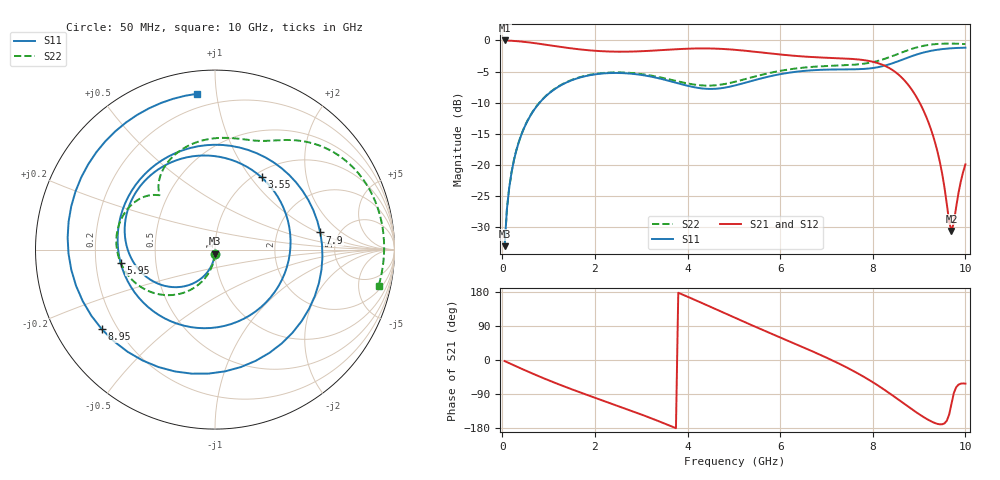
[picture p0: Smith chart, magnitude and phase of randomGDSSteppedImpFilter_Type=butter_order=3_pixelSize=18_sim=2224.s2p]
! freq	dB(S11)	phase(S11)	dB(S12)	phase(S12)
!  dB(S21)	phase(S21)	dB(S22)	phase(S22)
!S-par simulation data
#  GHz  S  DB  R 50
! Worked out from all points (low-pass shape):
!   200 points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, 50 MHz to 10 GHz, reference 50 ohm
!   highest |S21| = -0.01 dB at 50 MHz (marker M1); lowest = -30.6 dB at 9.7 GHz (marker M2)
!   |S21| within 3 dB of the highest: start of sweep to 7.617 GHz
!   lowest |S11| = -33.0 dB at 50 MHz (marker M3), VSWR 1.05, Z = 49.9 - j2.23 ohm
!   |S11| at or under -10 dB: start of sweep to 805.3 MHz
!   |S22| runs from -33.0 to -0.5 dB; largest |S21 - S12| = 0
!   S11 on the Smith chart (normalised r, x): 50 MHz: 1.00, -0.04; 3.55 GHz: 1.08, +1.13; 5.95 GHz: 0.31, -0.06; 7.9 GHz: 3.59, +1.06; 8.95 GHz: 0.14, -0.31; 10 GHz: 0.12, +0.89
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0.05  -33.01 -91.8  -0.01 -2.8  -0.01 -2.8  -32.99 -91.2
0.1  -27.08 -95.3  -0.02 -5.6  -0.02 -5.6  -27.04 -94.1
0.2  -21.16 -101.8  -0.06 -11.2  -0.06 -11.2  -21.13 -99.4
0.5  -13.58 -120.5  -0.26 -27.7  -0.26 -27.7  -13.54 -114.6
1.1  -7.98 -155.5  -0.87 -58.5  -0.87 -58.5  -7.93 -141.8
1.75  -5.81 169.2  -1.51 -88.5  -1.51 -88.5  -5.75 -166.8
2.7  -5.29 116.2  -1.81 -130.2  -1.81 -130.2  -5.18 163.1
3.4  -6.12 69.0  -1.58 -162.6  -1.58 -162.6  -5.91 146.0
3.55  -6.40 57.2  -1.51 -169.9  -1.51 -169.9  -6.16 143.3
4.25  -7.65 -8.3  -1.29 153.7  -1.29 153.7  -7.19 136.2
5.05  -7.18 -93.0  -1.53 110.0  -1.53 110.0  -6.59 132.3
5.45  -6.37 -130.5  -1.82 88.5  -1.82 88.5  -5.80 126.4
5.95  -5.49 -172.2  -2.22 62.1  -2.22 62.1  -4.96 115.4
6.7  -4.79 128.8  -2.68 22.7  -2.68 22.7  -4.24 95.7
7.35  -4.66 71.5  -2.89 -14.3  -2.89 -14.3  -4.01 79.0
7.9  -4.52 9.3  -3.27 -51.1  -3.27 -51.1  -3.63 67.0
8.35  -3.86 -54.6  -4.41 -86.8  -4.41 -86.8  -2.72 56.6
8.65  -3.06 -100.6  -6.15 -113.0  -6.15 -113.0  -1.86 47.0
8.95  -2.26 -144.8  -9.16 -138.9  -9.16 -138.9  -1.12 34.7
9.3  -1.61 169.2  -15.25 -164.2  -15.25 -164.2  -0.64 18.7
9.7  -1.26 125.0  -30.58 -115.0  -30.58 -115.0  -0.52 0.4
10  -1.17 96.4  -19.88 -62.3  -19.88 -62.3  -0.60 -12.5
